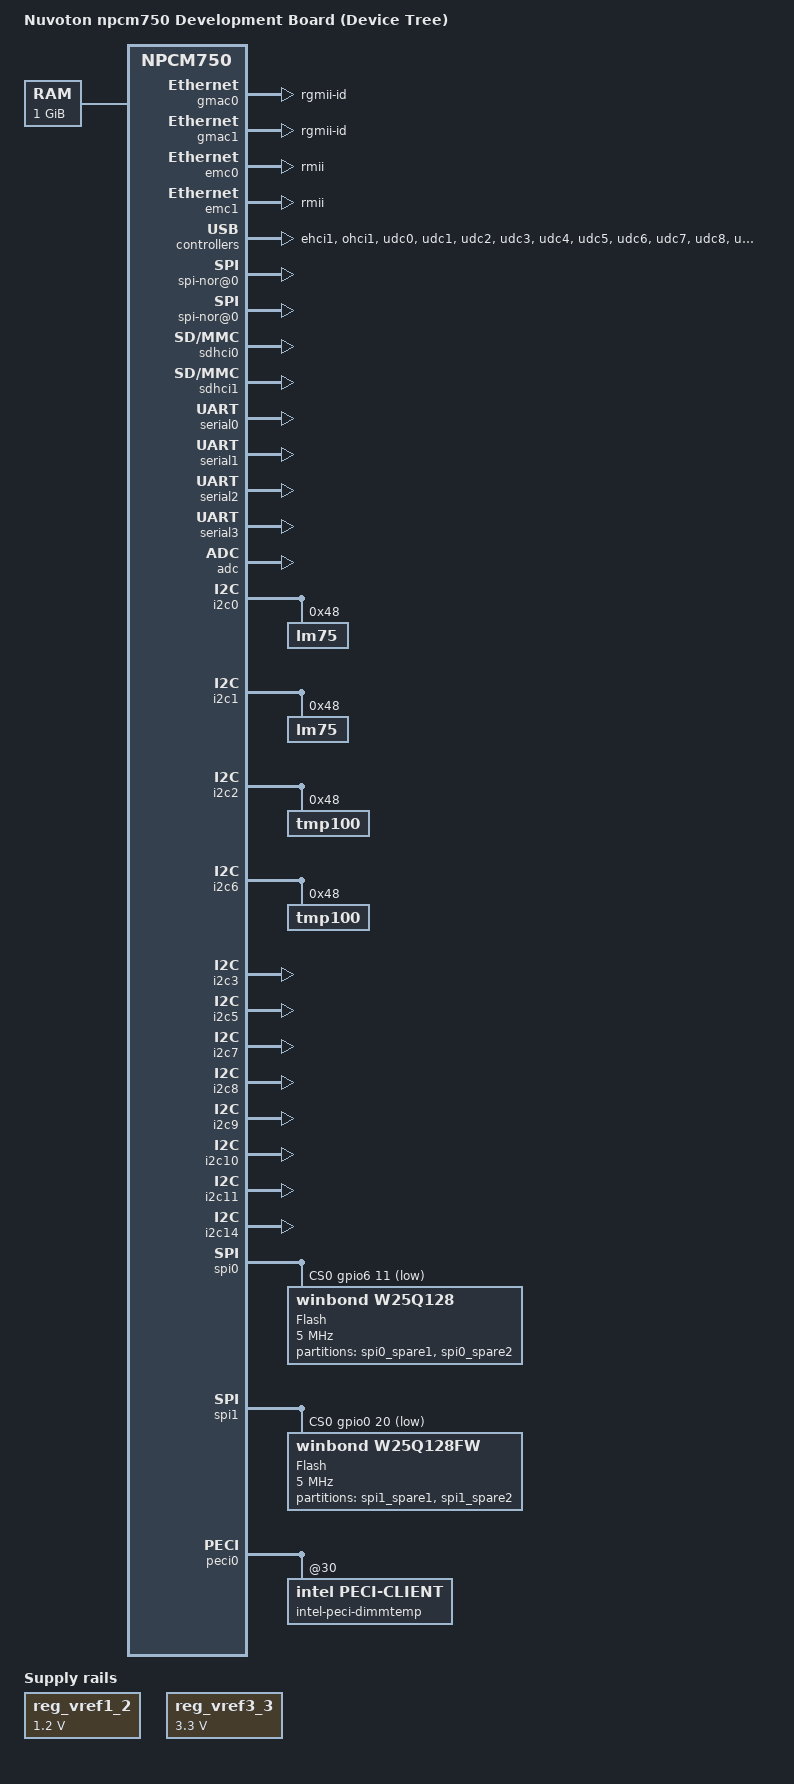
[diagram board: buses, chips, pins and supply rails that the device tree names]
// SPDX-License-Identifier: GPL-2.0
// Copyright (c) 2018 Nuvoton Technology tomer.maimon@nuvoton.com
// Copyright 2018 Google, Inc.

/dts-v1/;
#include "nuvoton-npcm750.dtsi"

/ {
	model = "Nuvoton npcm750 Development Board (Device Tree)";
	compatible = "nuvoton,npcm750";

	aliases {
		ethernet0 = &emc0;
		ethernet1 = &emc1;
		ethernet2 = &gmac0;
		ethernet3 = &gmac1;
		serial0 = &serial0;
		serial1 = &serial1;
		serial2 = &serial2;
		serial3 = &serial3;
		udc0 = &udc0;
		udc1 = &udc1;
		udc2 = &udc2;
		udc3 = &udc3;
		udc4 = &udc4;
		udc5 = &udc5;
		udc6 = &udc6;
		udc7 = &udc7;
		udc8 = &udc8;
		udc9 = &udc9;
		emmc0 = &sdhci0;
		emmc1 = &sdhci1;
		i2c0 = &i2c0;
		i2c1 = &i2c1;
		i2c2 = &i2c2;
		i2c3 = &i2c3;
		i2c4 = &i2c4;
		i2c5 = &i2c5;
		i2c6 = &i2c6;
		i2c7 = &i2c7;
		i2c8 = &i2c8;
		i2c9 = &i2c9;
		i2c10 = &i2c10;
		i2c11 = &i2c11;
		i2c12 = &i2c12;
		i2c13 = &i2c13;
		i2c14 = &i2c14;
		i2c15 = &i2c15;
		spi0 = &spi0;
		spi1 = &spi1;
		fiu0 = &fiu0;
		fiu1 = &fiu3;
		fiu2 = &fiux;
	};

	chosen {
		stdout-path = &serial3;
	};

	memory {
		reg = <0 0x40000000>;
	};

	regulators {
		compatible = "simple-bus";
		#address-cells = <1>;
		#size-cells = <0>;

		reg_vref1_2: regulator@0 {
			compatible = "regulator-fixed";
			reg = <0>;
			regulator-name = "vref_1_2v";
			regulator-min-microvolt = <1200000>;
			regulator-max-microvolt = <1200000>;
		};
		reg_vref3_3: regulator@1 {
			compatible = "regulator-fixed";
			reg = <0>;
			regulator-name = "vref_3_3v";
			regulator-min-microvolt = <3300000>;
			regulator-max-microvolt = <3300000>;
		};
	};

	ahb {
		gmac0: eth@f0802000 {
			phy-mode = "rgmii-id";
			status = "okay";
		};

		gmac1: eth@f0804000 {
			phy-mode = "rgmii-id";
			status = "okay";
		};

		emc0: eth@f0825000 {
			phy-mode = "rmii";
			#use-ncsi; /* add this to support ncsi */
			status = "okay";
		};

		emc1: eth@f0826000 {
			phy-mode = "rmii";
			#use-ncsi; /* add this to support ncsi */
			status = "okay";
		};

		ehci1: usb@f0806000 {
			status = "okay";
		};

		ohci1: ohci@f0807000 {
			status = "okay";
		};

		udc0:udc@f0830000 {
			status = "okay";
		};

		udc1:udc@f0831000 {
			status = "okay";
		};

		udc2:udc@f0832000 {
			status = "okay";
		};

		udc3:udc@f0833000 {
			status = "okay";
		};

		udc4:udc@f0834000 {
			status = "okay";
		};

		udc5:udc@f0835000 {
			status = "okay";
		};

		udc6:udc@f0836000 {
			status = "okay";
		};

		udc7:udc@f0837000 {
			status = "okay";
		};

		udc8:udc@f0838000 {
			status = "okay";
		};

		udc9:udc@f0839000 {
			status = "okay";
		};

		aes:aes@f0858000 {
			status = "okay";
		};

		sha:sha@f085a000 {
			status = "okay";
		};

		fiu0: fiu@fb000000 {
			status = "okay";
			spi-nor@0 {
				compatible = "jedec,spi-nor";
				#address-cells = <1>;
				#size-cells = <1>;
				spi-rx-bus-width = <2>;
				reg = <0>;
				partitions@80000000 {
					compatible = "fixed-partitions";
					#address-cells = <1>;
					#size-cells = <1>;
					bbuboot1@0 {
						label = "bb-uboot-1";
						reg = <0x0000000 0x80000>;
						read-only;
						};
					bbuboot2@80000 {
						label = "bb-uboot-2";
						reg = <0x0080000 0x80000>;
						read-only;
						};
					envparam@100000 {
						label = "env-param";
						reg = <0x0100000 0x40000>;
						read-only;
						};
					spare@140000 {
						label = "spare";
						reg = <0x0140000 0xC0000>;
						};
					kernel@200000 {
						label = "kernel";
						reg = <0x0200000 0x400000>;
						};
					rootfs@600000 {
						label = "rootfs";
						reg = <0x0600000 0x700000>;
						};
					spare1@D00000 {
						label = "spare1";
						reg = <0x0D00000 0x200000>;
						};
					spare2@0F00000 {
						label = "spare2";
						reg = <0x0F00000 0x200000>;
						};
					spare3@1100000 {
						label = "spare3";
						reg = <0x1100000 0x200000>;
						};
					spare4@1300000 {
						label = "spare4";
						reg = <0x1300000 0x0>;
					};
				};
			};
		};

		fiu3: fiu@c0000000 {
			pinctrl-0 = <&spi3_pins>, <&spi3quad_pins>;
			status = "okay";
			spi-nor@0 {
				compatible = "jedec,spi-nor";
				#address-cells = <1>;
				#size-cells = <1>;
				spi-rx-bus-width = <2>;
				reg = <0>;
				partitions@A0000000 {
					compatible = "fixed-partitions";
					#address-cells = <1>;
					#size-cells = <1>;
					system1@0 {
						label = "spi3-system1";
						reg = <0x0 0x0>;
					};
				};
			};
		};

		fiux: fiu@fb001000 {
			spix-mode;
		};

		sdhci0: sdhci@f0842000 {
			status = "okay";
		};

		sdhci1: sdhci@f0840000 {
			status = "okay";
		};

		pcimbox: pcimbox@f0848000 {
			status = "okay";
		};

		vcd: vcd@f0810000 {
			status = "okay";
		};

		ece: ece@f0820000 {
			status = "okay";
		};

		apb {

			watchdog1: watchdog@901C {
				status = "okay";
			};

			rng: rng@b000 {
				status = "okay";
			};

			serial0: serial@1000 {
				status = "okay";
			};

			serial1: serial@2000 {
				status = "okay";
			};

			serial2: serial@3000 {
				status = "okay";
			};

			serial3: serial@4000 {
				status = "okay";
			};

			adc: adc@c000 {
				/* enable external vref */
				/*vref-supply = <&reg_vref1_2>;*/
				status = "okay";
			};

			otp:otp@189000 {
				status = "okay";
			};

			lpc_kcs: lpc_kcs@7000 {
				kcs1: kcs1@0 {
					status = "okay";
				};

				kcs2: kcs2@0 {
					status = "okay";
				};

				kcs3: kcs3@0 {
					status = "okay";
				};
			};

			lpc_host: lpc_host@7000 {
				lpc_bpc: lpc_bpc@40 {
					monitor-ports = <0x80>;
					status = "okay";
				};
			};

			/* lm75 on SVB */
			i2c0: i2c@80000 {
				#address-cells = <1>;
				#size-cells = <0>;
				bus-frequency = <100000>;
				status = "okay";

				lm75@48 {
					compatible = "lm75";
					reg = <0x48>;
					status = "okay";
				};
			};

			/* lm75 on EB */
			i2c1: i2c@81000 {
				#address-cells = <1>;
				#size-cells = <0>;
				bus-frequency = <100000>;
				status = "okay";

				lm75@48 {
					compatible = "lm75";
					reg = <0x48>;
					status = "okay";
				};
			};

			/* tmp100 on EB */
			i2c2: i2c@82000 {
				#address-cells = <1>;
				#size-cells = <0>;
				bus-frequency = <100000>;
				status = "okay";

				tmp100@48 {
					compatible = "tmp100";
					reg = <0x48>;
					status = "okay";
				};
			};

			/* tmp100 on SVB */
			i2c6: i2c@86000 {
				#address-cells = <1>;
				#size-cells = <0>;
				bus-frequency = <100000>;
				status = "okay";

				tmp100@48 {
					compatible = "tmp100";
					reg = <0x48>;
					status = "okay";
				};
			};
			i2c3: i2c@83000 {
				#address-cells = <1>;
				#size-cells = <0>;
				bus-frequency = <100000>;
				status = "okay";
			};

			i2c4: i2c@84000 {
				#address-cells = <1>;
				#size-cells = <0>;
				bus-frequency = <100000>;
				status = "disabled";
			};

			i2c5: i2c@85000 {
				#address-cells = <1>;
				#size-cells = <0>;
				bus-frequency = <100000>;
				status = "okay";
			};

			i2c7: i2c@87000 {
				#address-cells = <1>;
				#size-cells = <0>;
				bus-frequency = <100000>;
				status = "okay";
			};

			i2c8: i2c@88000 {
				#address-cells = <1>;
				#size-cells = <0>;
				bus-frequency = <100000>;
				status = "okay";
			};

			i2c9: i2c@89000 {
				#address-cells = <1>;
				#size-cells = <0>;
				bus-frequency = <100000>;
				status = "okay";
			};

			i2c10: i2c@8a000 {
				#address-cells = <1>;
				#size-cells = <0>;
				bus-frequency = <100000>;
				status = "okay";
			};

			i2c11: i2c@8b000 {
				#address-cells = <1>;
				#size-cells = <0>;
				bus-frequency = <100000>;
				status = "okay";
			};

			i2c14: i2c@8e000 {
				#address-cells = <1>;
				#size-cells = <0>;
				bus-frequency = <100000>;
				status = "okay";
			};

			i2c15: i2c@8f000 {
				#address-cells = <1>;
				#size-cells = <0>;
				bus-frequency = <100000>;
				/* SVB conflict with pspi2 cs gpio20o_pins */
				status = "disabled";
			};

			pwm_fan:pwm-fan-controller@103000 {
				status = "okay";
				fan@0 {
					reg = <0x00>;
					fan-tach-ch = /bits/ 8 <0x00 0x01>;
					cooling-levels = <127 255>;
				};
				fan@1 {
					reg = <0x01>;
					fan-tach-ch = /bits/ 8 <0x02 0x03>;
					cooling-levels = /bits/ 8 <127 255>;
				};
				fan@2 {
					reg = <0x02>;
					fan-tach-ch = /bits/ 8 <0x04 0x05>;
					cooling-levels = /bits/ 8 <127 255>;
				};
				fan@3 {
					reg = <0x03>;
					fan-tach-ch = /bits/ 8 <0x06 0x07>;
					cooling-levels = /bits/ 8 <127 255>;
				};
				fan@4 {
					reg = <0x04>;
					fan-tach-ch = /bits/ 8 <0x08 0x09>;
					cooling-levels = /bits/ 8 <127 255>;
				};
				fan@5 {
					reg = <0x05>;
					fan-tach-ch = /bits/ 8 <0x0A 0x0B>;
					cooling-levels = /bits/ 8 <127 255>;
				};
				fan@6 {
					reg = <0x06>;
					fan-tach-ch = /bits/ 8 <0x0C 0x0D>;
					cooling-levels = /bits/ 8 <127 255>;
				};
				fan@7 {
					reg = <0x07>;
					fan-tach-ch = /bits/ 8 <0x0E 0x0F>;
					cooling-levels = /bits/ 8 <127 255>;
				};
			};

			spi0: spi@200000 {
				cs-gpios = <&gpio6 11 GPIO_ACTIVE_LOW>;
				status = "okay";
				Flash@0 {
					compatible = "winbond,w25q128",
					"jedec,spi-nor";
					reg = <0x0>;
					#address-cells = <1>;
					#size-cells = <1>;
					spi-max-frequency = <5000000>;
					partition@0 {
						label = "spi0_spare1";
						reg = <0x0000000 0x800000>;
					};
					partition@1 {
						label = "spi0_spare2";
						reg = <0x800000 0x0>;
					};
				};
			};

			spi1: spi@201000 {
				cs-gpios = <&gpio0 20 GPIO_ACTIVE_LOW>;
				status = "okay";
				Flash@0 {
					compatible = "winbond,w25q128fw",
					"jedec,spi-nor";
					reg = <0x0>;
					#address-cells = <1>;
					#size-cells = <1>;
					spi-max-frequency = <5000000>;
					partition@0 {
						label = "spi1_spare1";
						reg = <0x0000000 0x800000>;
					};
					partition@1 {
						label = "spi1_spare2";
						reg = <0x800000 0x0>;
					};
				};
			};
		};
	};

	pinctrl: pinctrl@f0800000 {
		pinctrl-names = "default";
		pinctrl-0 = <	&iox1_pins
				&gpio8_pins
				&gpio9o_pins
				&gpio10_pins
				&gpio11o_pins
				&gpio16_pins
				&gpio24o_pins
				&gpio25ol_pins
				&gpio32o_pins
				&jtag2_pins
				&gpio61o_pins
				&gpio62o_pins
				&gpio63o_pins
				&gpio64o_pins      /* SVB pspi1 enable */
				&gpio80_pins
				&gpio81_pins
				&gpio82_pins
				&gpio83_pins
				&lpc_pins
				&gpio132_pins
				&gpio133_pins
				&gpio134_pins
				&gpio135_pins
				&gpio144_pins
				&gpio145_pins
				&gpio146_pins
				&gpio147_pins
				&gpio160_pins
				&gpio162_pins
				&gpio168_pins
				&gpio169_pins
				&gpio170_pins
				&gpio187o_pins
				&gpio190_pins
				&gpio191o_pins
				&gpio192o_pins
				&gpio197ol_pins
				&ddc_pins
				&gpio218_pins
				&gpio219ol_pins
				&gpio220ol_pins
				&gpio221o_pins
				&gpio222_pins
				&gpio223ol_pins
				&spix_pins
				&gpio228ol_pins
				&gpio231o_pins
				&gpio255_pins>;
	};
};

&gcr {
	serial_port_mux: mux-controller {
		compatible = "mmio-mux";
		#mux-control-cells = <1>;

		mux-reg-masks = <0x38 0x07>;
		idle-states = <2>; /* Serial port mode 3 (takeover) */
	};
};

&peci0 {
	cmd-timeout-ms = <1000>;
	pull-down = <0>;
	host-neg-bit-rate = <15>;
	status = "okay";

	intel-peci-dimmtemp@30 {
		compatible = "intel,peci-client";
		reg = <0x30>;
		status = "okay";
	};
};
